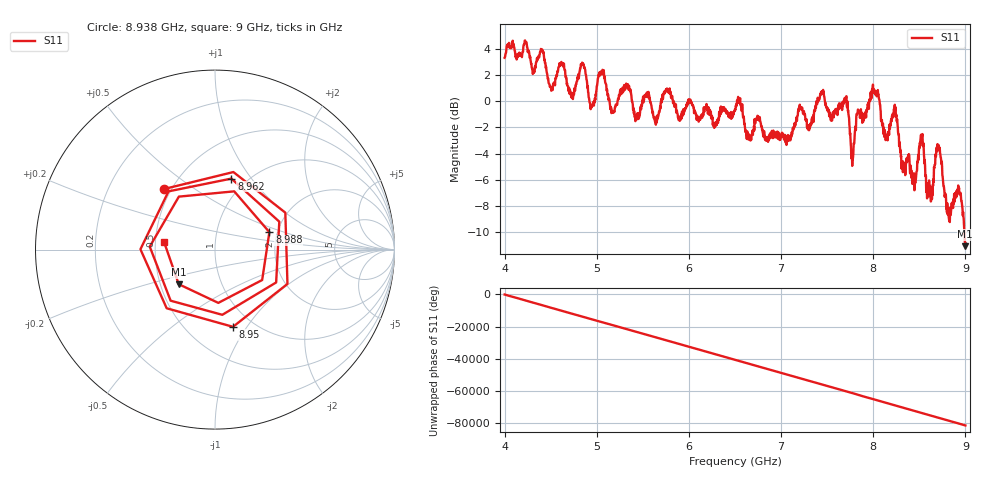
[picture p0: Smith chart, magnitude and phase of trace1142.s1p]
! Created with skrf 1.8.0 (http://scikit-rf.org).
# Hz S RI R 50.0
!freq ReS11 ImS11
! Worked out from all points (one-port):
!   1601 points, 4 GHz to 9 GHz, reference 50 ohm
!   lowest |S11| = -11.1 dB at 8.997 GHz (marker M1), VSWR 1.77, Z = 31.1 - j13 ohm
!   |S11| at or under -10 dB: 8.989065 GHz to end of sweep
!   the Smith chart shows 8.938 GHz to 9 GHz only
!   S11 on the Smith chart (normalised r, x): 8.938 GHz: 0.46, +0.38; 8.95 GHz: 0.81, -0.86; 8.962 GHz: 0.85, +0.81; 8.988 GHz: 1.81, +0.39; 9 GHz: 0.56, +0.05
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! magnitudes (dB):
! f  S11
! 4 GHz  3.3
! 4.503 GHz  1.0
! 4.625 GHz  2.8
! 4.728 GHz  0.7
! 4.844 GHz  2.9
! 4.944 GHz  -0.4
! 5.053 GHz  2.2
! 5.169 GHz  -0.9
! 5.25 GHz  0.6
! 5.875 GHz  -0.9
! 6.5 GHz  -0.6
! 7.125 GHz  -2.2
! 7.444 GHz  0.6
! 7.697 GHz  0.0
! 7.75 GHz  -2.4
! 8.019 GHz  0.8
! 8.375 GHz  -4.2
! 8.45 GHz  -6.3
! 8.525 GHz  -2.7
! 8.619 GHz  -7.0
! 8.709 GHz  -3.3
! 8.816 GHz  -8.5
! 8.938 GHz  -7.1
! 8.95 GHz  -7.1
! 8.962 GHz  -7.8
! 8.988 GHz  -9.9
! 8.997 GHz  -11.1
! 9 GHz  -10.8
